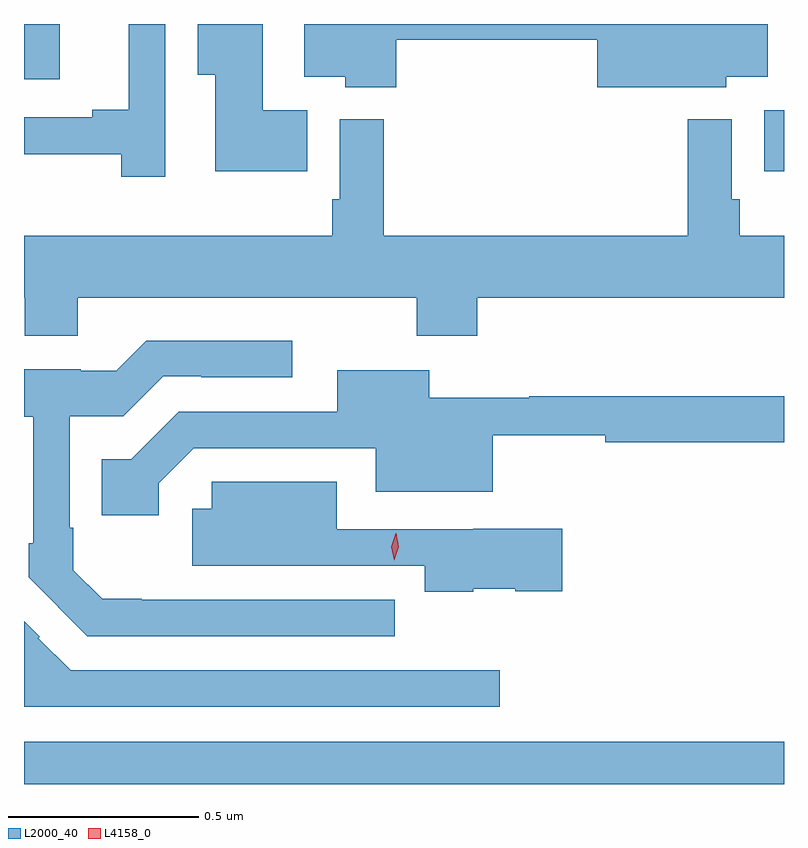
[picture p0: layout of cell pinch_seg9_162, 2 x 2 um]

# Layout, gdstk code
import gdstk
lib = gdstk.Library(unit=1e-6, precision=1e-09)
def R(c, l, rs):  # rectangles x0, y0, x1, y1
    for r in rs: c.add(gdstk.rectangle(r[:2], r[2:], *l))
def P(c, l, *ps):  # polygons
    for p in ps: c.add(gdstk.Polygon(p, *l))
L2000_40 = (2000, 40)
L4158_0 = (4158, 0)

pinch_seg9_162 = lib.new_cell('pinch_seg9_162')
R(pinch_seg9_162, L2000_40, [(711.084,1185.817,713.084,1185.928), (713.032,1187.429,713.084,1187.59), (711.084,1187.672,711.178,1187.817)])
P(pinch_seg9_162, L2000_40, [(712.064,1187.776),(712.592,1187.776),(712.592,1187.651),(712.932,1187.651),(712.932,1187.678),(713.041,1187.678),(713.041,1187.817),(711.821,1187.817),(711.821,1187.678),(711.93,1187.678),(711.93,1187.651),(712.064,1187.651)],
  [(711.83,1187.59),(711.712,1187.59),(711.712,1187.817),(711.541,1187.817),(711.541,1187.683),(711.587,1187.683),(711.587,1187.429),(711.83,1187.429)],
  [(711.456,1187.817),(711.359,1187.817),(711.359,1187.591),(711.263,1187.591),(711.263,1187.571),(711.084,1187.571),(711.084,1187.474),(711.34,1187.474),(711.34,1187.415),(711.456,1187.415)],
  [(711.226,1187.096),(712.117,1187.096),(712.117,1186.997),(712.277,1186.997),(712.277,1187.096),(713.084,1187.096),(713.084,1187.26),(712.967,1187.26),(712.967,1187.356),(712.947,1187.356),(712.947,1187.566),(712.831,1187.566),(712.831,1187.26),(712.031,1187.26),(712.031,1187.566),(711.915,1187.566),(711.915,1187.356),(711.895,1187.356),(711.895,1187.26),(711.084,1187.26),(711.084,1187.096),(711.086,1187.096),(711.086,1186.997),(711.226,1186.997)],
  [(712.06,1186.302),(711.394,1186.302),(711.394,1186.305),(711.29,1186.305),(711.214,1186.38),(711.214,1186.492),(711.204,1186.492),(711.204,1186.785),(711.345,1186.785),(711.45,1186.89),(711.55,1186.89),(711.55,1186.887),(711.79,1186.887),(711.79,1186.984),(711.406,1186.984),(711.327,1186.905),(711.233,1186.905),(711.233,1186.909),(711.084,1186.909),(711.084,1186.784),(711.108,1186.784),(711.108,1186.45),(711.096,1186.45),(711.096,1186.361),(711.251,1186.206),(712.06,1186.206)],
  [(711.439,1186.609),(711.531,1186.701),(712.01,1186.701),(712.01,1186.586),(712.318,1186.586),(712.318,1186.735),(712.614,1186.735),(712.614,1186.717),(713.084,1186.717),(713.084,1186.838),(712.414,1186.838),(712.414,1186.834),(712.15,1186.834),(712.15,1186.906),(711.908,1186.906),(711.908,1186.797),(711.491,1186.797),(711.366,1186.672),(711.289,1186.672),(711.289,1186.524),(711.439,1186.524)],
  [(712.266,1186.331),(712.377,1186.331),(712.377,1186.324),(712.501,1186.324),(712.501,1186.489),(712.266,1186.489),(712.266,1186.488),(711.907,1186.488),(711.907,1186.612),(711.578,1186.612),(711.578,1186.542),(711.527,1186.542),(711.527,1186.391),(711.803,1186.391),(711.803,1186.392),(712.138,1186.392),(712.138,1186.323),(712.266,1186.323)],
  [(712.336,1186.116),(711.207,1186.116),(711.122,1186.201),(711.125,1186.204),(711.084,1186.245),(711.084,1186.02),(712.336,1186.02)])
P(pinch_seg9_162, L4158_0, [(712.058,1186.406),(712.058,1186.406),(712.05,1186.442),(712.062,1186.477),(712.063,1186.477),(712.063,1186.477),(712.07,1186.441),(712.058,1186.406)])

lib.write_gds('pinch_seg9_162.gds')
